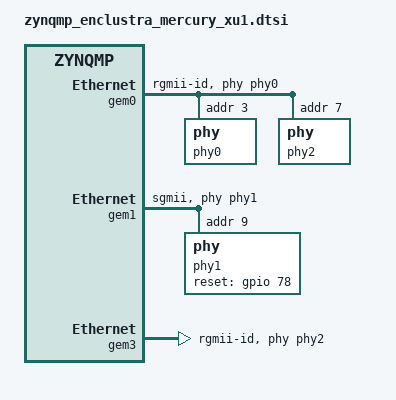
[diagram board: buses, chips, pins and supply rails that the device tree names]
/ {
	aliases {
		ethernet0 = &gem0;
		ethernet1 = &gem1;
		ethernet2 = &gem3;

		i2c0 = &i2c0;
		serial0 = &uart0;
		spi0 = &qspi;
	};
};

&gem0 {
	status = "okay";
	/delete-property/ local-mac-address;
	phy-mode = "rgmii-id";
	phy-handle = <&phy0>;
	phy0: phy@3 {
		reg = <3>;

		txc-skew-ps = <1800>;
		txen-skew-ps = <420>;

		txd0-skew-ps = <420>;
		txd1-skew-ps = <420>;
		txd2-skew-ps = <420>;
		txd3-skew-ps = <420>;

		rxc-skew-ps = <900>;
		rxdv-skew-ps = <420>;

		rxd0-skew-ps = <420>;
		rxd1-skew-ps = <420>;
		rxd2-skew-ps = <420>;
		rxd3-skew-ps = <420>;
	};
	phy2: phy@7 {
		reg = <7>;

		txc-skew-ps = <1800>;
		txen-skew-ps = <420>;

		txd0-skew-ps = <420>;
		txd1-skew-ps = <420>;
		txd2-skew-ps = <420>;
		txd3-skew-ps = <420>;

		rxc-skew-ps = <900>;
		rxdv-skew-ps = <420>;

		rxd0-skew-ps = <420>;
		rxd1-skew-ps = <420>;
		rxd2-skew-ps = <420>;
		rxd3-skew-ps = <420>;
	};
};

&gem1 {
   status = "okay";
   /delete-property/ local-mac-address;
   phy-handle = <&phy1>;
   phy-mode = "sgmii";
   /* is-internal-pcspma; */
   phy1: phy@9 {
      reg = <0x9>;
      xlnx,phy-type = <0x4>;
      reset-gpios = <&gpio 78 GPIO_ACTIVE_HIGH>;
   };
};

&gem3 {
	status = "okay";
	/delete-property/ local-mac-address;
	phy-handle = <&phy2>;
	phy-mode = "rgmii-id";
};
